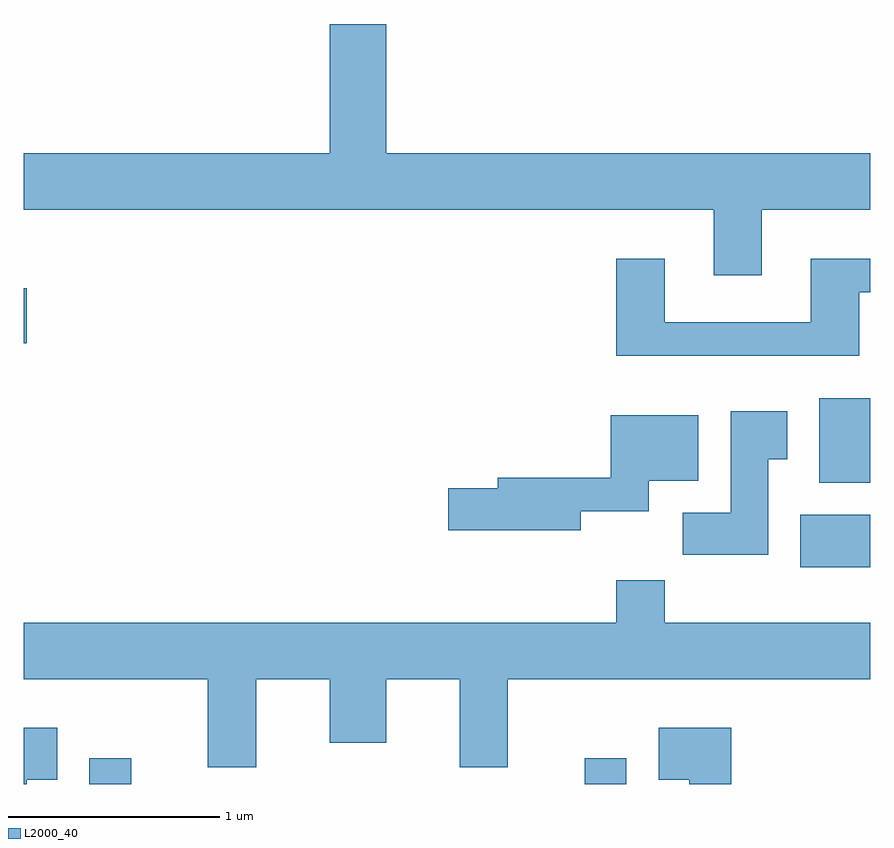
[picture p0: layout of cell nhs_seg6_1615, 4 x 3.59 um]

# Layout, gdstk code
import gdstk
lib = gdstk.Library(unit=1e-6, precision=1e-09)
def R(c, l, rs):  # rectangles x0, y0, x1, y1
    for r in rs: c.add(gdstk.rectangle(r[:2], r[2:], *l))
def P(c, l, *ps):  # polygons
    for p in ps: c.add(gdstk.Polygon(p, *l))
L2000_40 = (2000, 40)

nhs_seg6_1615 = lib.new_cell('nhs_seg6_1615')
R(nhs_seg6_1615, L2000_40, [(233.921,1596.162,234.119,1596.284), (236.261,1596.162,236.459,1596.284), (237.281,1597.186,237.611,1597.434), (237.371,1597.586,237.611,1597.984), (233.611,1598.246,233.624,1598.504)])
P(nhs_seg6_1615, L2000_40, [(237.099,1598.876),(237.611,1598.876),(237.611,1599.144),(235.324,1599.144),(235.324,1599.754),(235.056,1599.754),(235.056,1599.144),(233.611,1599.144),(233.611,1598.876),(236.871,1598.876),(236.871,1598.566),(237.099,1598.566)],
  [(237.559,1598.486),(237.611,1598.486),(237.611,1598.644),(237.331,1598.644),(237.331,1598.344),(236.639,1598.344),(236.639,1598.644),(236.411,1598.644),(236.411,1598.186),(237.559,1598.186)],
  [(237.129,1597.696),(237.219,1597.696),(237.219,1597.924),(236.951,1597.924),(236.951,1597.444),(236.726,1597.444),(236.726,1597.246),(237.129,1597.246)],
  [(236.244,1597.451),(236.564,1597.451),(236.564,1597.596),(236.799,1597.596),(236.799,1597.904),(236.386,1597.904),(236.386,1597.609),(235.851,1597.609),(235.851,1597.559),(235.616,1597.559),(235.616,1597.361),(236.244,1597.361)],
  [(234.709,1596.656),(235.056,1596.656),(235.056,1596.356),(235.324,1596.356),(235.324,1596.656),(235.671,1596.656),(235.671,1596.241),(235.899,1596.241),(235.899,1596.656),(237.611,1596.656),(237.611,1596.924),(236.639,1596.924),(236.639,1597.124),(236.411,1597.124),(236.411,1596.924),(233.611,1596.924),(233.611,1596.656),(234.481,1596.656),(234.481,1596.241),(234.709,1596.241)],
  [(233.624,1596.181),(233.769,1596.181),(233.769,1596.429),(233.611,1596.429),(233.611,1596.162),(233.624,1596.162)],
  [(236.954,1596.429),(236.611,1596.429),(236.611,1596.181),(236.756,1596.181),(236.756,1596.162),(236.954,1596.162)])

lib.write_gds('nhs_seg6_1615.gds')
